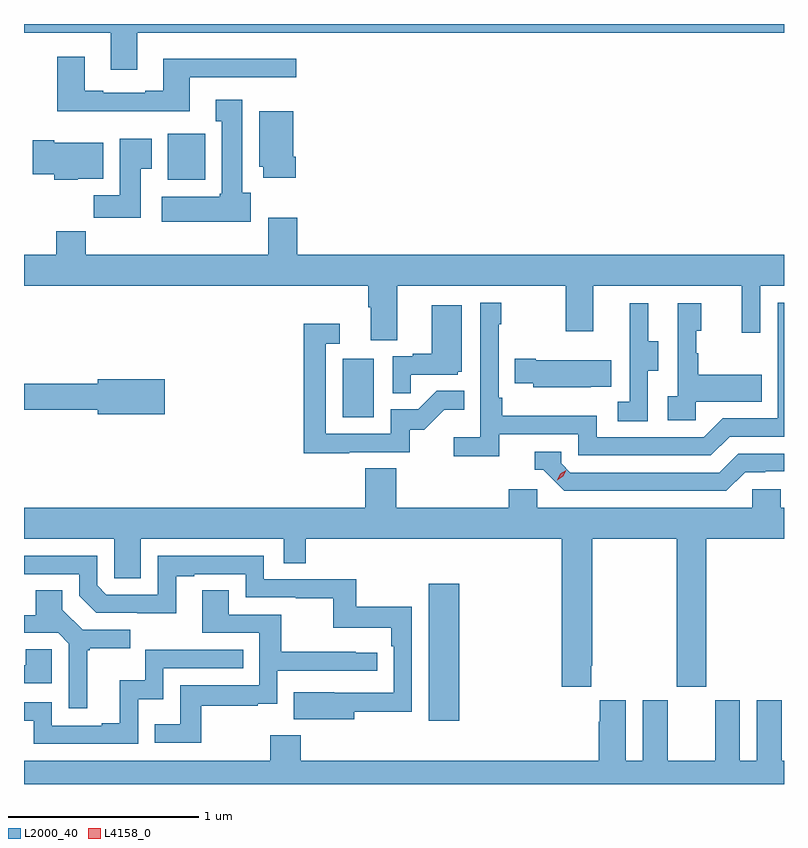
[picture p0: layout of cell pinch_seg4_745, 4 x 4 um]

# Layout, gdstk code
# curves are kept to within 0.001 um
import gdstk
lib = gdstk.Library(unit=1e-6, precision=1e-09)
def R(c, l, rs):  # rectangles x0, y0, x1, y1
    for r in rs: c.add(gdstk.rectangle(r[:2], r[2:], *l))
def P(c, l, *ps):  # polygons
    for p in ps: c.add(gdstk.Polygon(p, *l))
L2000_40 = (2000, 40)
L4158_0 = (4158, 0)

pinch_seg4_745 = lib.new_cell('pinch_seg4_745')
R(pinch_seg4_745, L2000_40, [(866.849,827.832,867.01,828.553), (866.396,829.428,866.56,829.735), (865.475,830.678,865.672,830.92)])
P(pinch_seg4_745, L2000_40, [(865.315,831.452),(868.718,831.452),(868.718,831.498),(864.718,831.498),(864.718,831.452),(865.175,831.452),(865.175,831.258),(865.315,831.258)],
  [(865.591,831.219),(866.152,831.219),(866.152,831.316),(865.451,831.316),(865.451,831.148),(865.355,831.148),(865.355,831.135),(865.135,831.135),(865.135,831.148),(865.039,831.148),(865.039,831.325),(864.892,831.325),(864.892,831.038),(865.591,831.038)],
  [(865.912,830.61),(865.867,830.61),(865.867,831.1),(865.727,831.1),(865.727,830.987),(865.76,830.987),(865.76,830.604),(865.747,830.604),(865.747,830.59),(865.443,830.59),(865.443,830.456),(865.912,830.456)],
  [(866.147,830.8),(866.134,830.8),(866.134,831.04),(865.955,831.04),(865.955,830.748),(865.976,830.748),(865.976,830.688),(866.147,830.688)],
  [(865.333,830.737),(865.39,830.737),(865.39,830.893),(865.223,830.893),(865.223,830.596),(865.084,830.596),(865.084,830.478),(865.333,830.478)],
  [(865.002,830.684),(865.135,830.684),(865.135,830.872),(864.877,830.872),(864.877,830.885),(864.765,830.885),(864.765,830.707),(864.877,830.707),(864.877,830.678),(865.002,830.678)],
  [(866.683,830.12),(867.568,830.12),(867.568,829.881),(867.715,829.881),(867.715,830.12),(868.496,830.12),(868.496,829.872),(868.593,829.872),(868.593,830.12),(868.718,830.12),(868.718,830.284),(866.156,830.284),(866.156,830.479),(866.003,830.479),(866.003,830.284),(865.043,830.284),(865.043,830.408),(864.887,830.408),(864.887,830.284),(864.718,830.284),(864.718,830.12),(866.531,830.12),(866.531,830.008),(866.543,830.008),(866.543,829.834),(866.683,829.834)],
  [(867.218,829.338),(867.636,829.338),(867.636,829.227),(868.333,829.227),(868.432,829.326),(868.718,829.326),(868.718,830.031),(868.686,830.031),(868.686,829.422),(868.395,829.422),(868.296,829.323),(867.732,829.323),(867.732,829.435),(867.236,829.435),(867.236,829.531),(867.216,829.531),(867.216,829.919),(867.229,829.919),(867.229,830.032),(867.12,830.032),(867.12,829.324),(866.979,829.324),(866.979,829.222),(867.218,829.222)],
  [(868.254,829.511),(868.601,829.511),(868.601,829.651),(868.267,829.651),(868.267,829.766),(868.257,829.766),(868.257,829.884),(868.282,829.884),(868.282,830.029),(868.158,830.029),(868.158,829.538),(868.107,829.538),(868.107,829.413),(868.254,829.413)],
  [(868.002,829.672),(868.057,829.672),(868.057,829.827),(868.003,829.827),(868.003,830.029),(867.905,830.029),(867.905,829.815),(867.906,829.815),(867.906,829.511),(867.843,829.511),(867.843,829.408),(868.002,829.408)],
  [(866.753,829.653),(867,829.653),(867,829.668),(867.022,829.668),(867.022,830.017),(866.864,830.017),(866.864,829.762),(866.765,829.762),(866.765,829.749),(866.658,829.749),(866.658,829.555),(866.753,829.555)],
  [(866.429,829.245),(866.748,829.245),(866.748,829.362),(866.824,829.362),(866.931,829.469),(867.035,829.469),(867.035,829.568),(866.891,829.568),(866.793,829.47),(866.649,829.47),(866.649,829.341),(866.307,829.341),(866.307,829.815),(866.38,829.815),(866.38,829.921),(866.191,829.921),(866.191,829.24),(866.429,829.24)],
  [(867.701,829.589),(867.809,829.589),(867.809,829.729),(867.412,829.729),(867.412,829.737),(867.301,829.737),(867.301,829.607),(867.399,829.607),(867.399,829.586),(867.701,829.586)],
  [(865.459,829.628),(865.106,829.628),(865.106,829.604),(864.718,829.604),(864.718,829.468),(865.106,829.468),(865.106,829.445),(865.459,829.445)],
  [(868.513,829.14),(868.62,829.14),(868.62,829.143),(868.718,829.143),(868.718,829.236),(868.476,829.236),(868.377,829.137),(867.594,829.137),(867.546,829.185),(867.546,829.248),(867.407,829.248),(867.407,829.152),(867.45,829.152),(867.561,829.041),(868.414,829.041)],
  [(867.703,828.121),(867.708,828.121),(867.708,828.788),(868.153,828.788),(868.153,828.009),(868.308,828.009),(868.308,828.788),(868.718,828.788),(868.718,828.952),(868.701,828.952),(868.701,829.05),(868.551,829.05),(868.551,828.952),(867.42,828.952),(867.42,829.05),(867.269,829.05),(867.269,828.952),(866.678,828.952),(866.678,829.16),(866.513,829.16),(866.513,828.952),(864.718,828.952),(864.718,828.788),(865.194,828.788),(865.194,828.58),(865.333,828.58),(865.333,828.788),(866.085,828.788),(866.085,828.661),(866.201,828.661),(866.201,828.788),(867.548,828.788),(867.548,828.009),(867.703,828.009)],
  [(866.455,827.878),(866.76,827.878),(866.76,828.43),(866.467,828.43),(866.467,828.576),(865.98,828.576),(865.98,828.699),(865.422,828.699),(865.422,828.495),(865.152,828.495),(865.104,828.543),(865.104,828.699),(864.718,828.699),(864.718,828.603),(865.008,828.603),(865.008,828.489),(865.098,828.399),(865.519,828.398),(865.519,828.591),(865.615,828.591),(865.615,828.603),(865.884,828.603),(865.884,828.48),(866.149,828.48),(866.149,828.475),(866.346,828.475),(866.346,828.32),(866.651,828.32),(866.651,828.224),(866.664,828.224),(866.664,827.979),(866.137,827.98),(866.137,827.84),(866.455,827.84)],
  [(865.651,827.91),(865.949,827.91),(865.949,827.921),(866.052,827.921),(866.052,828.093),(866.578,828.093),(866.578,828.189),(866.465,828.189),(866.465,828.194),(866.072,828.194),(866.072,828.39),(865.795,828.39),(865.795,828.518),(865.655,828.518),(865.655,828.294),(865.956,828.294),(865.956,828.018),(865.54,828.018),(865.54,827.812),(865.405,827.812),(865.405,827.715),(865.651,827.715)],
  [(865.051,828.201),(865.063,828.201),(865.063,828.212),(865.276,828.212),(865.276,828.309),(865.026,828.309),(864.919,828.416),(864.919,828.518),(864.779,828.518),(864.779,828.386),(864.718,828.386),(864.718,828.294),(864.897,828.294),(864.954,828.237),(864.954,827.898),(865.051,827.898)],
  [(864.864,828.207),(864.727,828.207),(864.727,828.123),(864.718,828.123),(864.718,828.027),(864.864,828.027)],
  [(865.32,827.945),(865.452,827.945),(865.452,828.108),(865.871,828.108),(865.871,828.204),(865.356,828.204),(865.356,828.043),(865.223,828.043),(865.223,827.818),(865.127,827.818),(865.127,827.805),(864.864,827.805),(864.864,827.928),(864.718,827.928),(864.718,827.832),(864.768,827.832),(864.768,827.709),(865.32,827.709)],
  [(868.718,827.62),(868.705,827.62),(868.705,827.938),(868.574,827.938),(868.574,827.62),(868.486,827.62),(868.486,827.938),(868.355,827.938),(868.355,827.62),(868.105,827.62),(868.105,827.938),(867.974,827.938),(867.974,827.62),(867.886,827.62),(867.886,827.938),(867.749,827.938),(867.749,827.825),(867.743,827.825),(867.743,827.62),(866.174,827.62),(866.174,827.755),(866.014,827.755),(866.014,827.62),(864.718,827.62),(864.718,827.498),(868.718,827.498)])
P(pinch_seg4_745, L4158_0, [(867.524,829.098),(867.524,829.098),(867.541,829.13),(867.571,829.149),(867.571,829.149),(867.571,829.149),(867.555,829.117),(867.525,829.098)])

lib.write_gds('pinch_seg4_745.gds')
